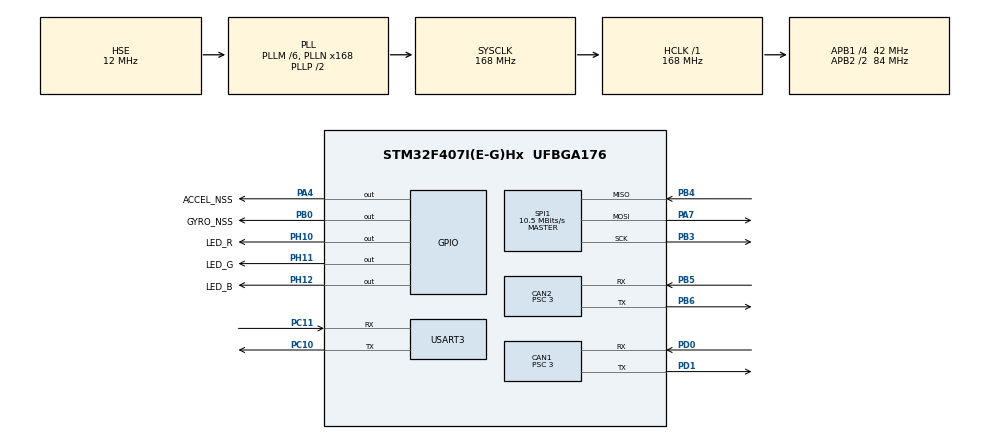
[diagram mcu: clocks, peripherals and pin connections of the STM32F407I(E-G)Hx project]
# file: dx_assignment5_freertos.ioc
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CAN1.ABOM=ENABLE
CAN1.AWUM=ENABLE
CAN1.BS1=CAN_BS1_7TQ
CAN1.BS2=CAN_BS2_6TQ
CAN1.CalculateBaudRate=1000000
CAN1.CalculateTimeBit=1000
CAN1.CalculateTimeQuantum=71.42857142857143
CAN1.Mode=CAN_MODE_NORMAL
CAN1.NART=ENABLE
CAN1.Prescaler=3
CAN1.TXFP=ENABLE
CAN2.BS1=CAN_BS1_7TQ
CAN2.BS2=CAN_BS2_6TQ
CAN2.CalculateBaudRate=1000000
CAN2.CalculateTimeBit=1000
CAN2.CalculateTimeQuantum=71.42857142857143
CAN2.Prescaler=3
Dma.Request0=USART3_RX
Dma.USART3_RX.0.Direction=DMA_PERIPH_TO_MEMORY
Dma.USART3_RX.0.FIFOMode=DMA_FIFOMODE_DISABLE
Dma.USART3_RX.0.Instance=DMA1_Stream1
Dma.USART3_RX.0.MemDataAlignment=DMA_MDATAALIGN_BYTE
Dma.USART3_RX.0.MemInc=DMA_MINC_ENABLE
Dma.USART3_RX.0.Mode=DMA_NORMAL
Dma.USART3_RX.0.PeriphDataAlignment=DMA_PDATAALIGN_BYTE
Dma.USART3_RX.0.PeriphInc=DMA_PINC_DISABLE
Dma.USART3_RX.0.Priority=DMA_PRIORITY_LOW
FREERTOS.CountingSemaphores01=CAN1CountingSem,3,Dynamic,NULL;CAN2CountingSem,3,Dynamic,NULL
FREERTOS.Queues01=can1_send_fifo,16,can_device_transmit_member,0,Dynamic,NULL,NULL;can2_send_fifo,16,can_device_transmit_member,0,Dynamic,NULL,NULL
FREERTOS.Tasks01=CAN1_Sending_Service,40,256,can1_sending_service,As weak,NULL,Dynamic,NULL,NULL;CAN2_Sending_Service,40,256,can2_sending_service,As weak,NULL,Dynamic,NULL,NULL;DJI_Motor_Service,40,256,DJI_motor_service,As weak,NULL,Dynamic,NULL,NULL
FREERTOS.configMAX_TASK_NAME_LEN=32
FREERTOS.configMINIMAL_STACK_SIZE=128
FREERTOS.configTOTAL_HEAP_SIZE=50000
FREERTOS.configUSE_NEWLIB_REENTRANT=1
Mcu.Family=STM32F4
Mcu.Name=STM32F407I(E-G)Hx
Mcu.Package=UFBGA176
NVIC.CAN1_RX0_IRQn=true\:5\:0\:false\:false\:true\:true\:true\:true\:true
NVIC.CAN1_TX_IRQn=true\:5\:0\:false\:false\:true\:true\:true\:true\:true
NVIC.CAN2_RX1_IRQn=true\:5\:0\:false\:false\:true\:true\:true\:true\:true
NVIC.CAN2_TX_IRQn=true\:5\:0\:false\:false\:true\:true\:true\:true\:true
NVIC.DMA1_Stream1_IRQn=true\:5\:0\:false\:false\:true\:true\:false\:true\:true
NVIC.PriorityGroup=NVIC_PRIORITYGROUP_4
NVIC.TIM7_IRQn=true\:15\:0\:false\:false\:true\:false\:false\:true\:true
NVIC.TimeBase=TIM7_IRQn
NVIC.TimeBaseIP=TIM7
NVIC.USART3_IRQn=true\:5\:0\:false\:false\:true\:true\:true\:true\:true
PA13.Mode=Serial_Wire
PA13.Signal=SYS_JTMS-SWDIO
PA14.Mode=Serial_Wire
PA14.Signal=SYS_JTCK-SWCLK
PA4.GPIO_Label=ACCEL_NSS
PA4.PinState=GPIO_PIN_SET
PA4.Signal=GPIO_Output
PA7.Mode=Full_Duplex_Master
PA7.Signal=SPI1_MOSI
PB0.GPIO_Label=GYRO_NSS
PB0.PinState=GPIO_PIN_SET
PB0.Signal=GPIO_Output
PB3.Mode=Full_Duplex_Master
PB3.Signal=SPI1_SCK
PB4.Mode=Full_Duplex_Master
PB4.Signal=SPI1_MISO
PB5.Mode=CAN_Activate
PB5.Signal=CAN2_RX
PB6.Mode=CAN_Activate
PB6.Signal=CAN2_TX
PC10.Mode=Asynchronous
PC10.Signal=USART3_TX
PC11.Mode=Asynchronous
PC11.Signal=USART3_RX
PD0.Mode=CAN_Activate
PD0.Signal=CAN1_RX
PD1.Mode=CAN_Activate
PD1.Signal=CAN1_TX
PH0-OSC_IN.Mode=HSE-External-Oscillator
PH0-OSC_IN.Signal=RCC_OSC_IN
PH1-OSC_OUT.Mode=HSE-External-Oscillator
PH1-OSC_OUT.Signal=RCC_OSC_OUT
PH10.GPIO_Label=LED_R
PH10.PinState=GPIO_PIN_SET
PH10.Signal=GPIO_Output
PH11.GPIO_Label=LED_G
PH11.PinState=GPIO_PIN_SET
PH11.Signal=GPIO_Output
PH12.GPIO_Label=LED_B
PH12.PinState=GPIO_PIN_SET
PH12.Signal=GPIO_Output
ProjectManager.HeapSize=0x200
ProjectManager.StackSize=0x400
ProjectManager.TargetToolchain=CMake
RCC.48MHZClocksFreq_Value=84000000
RCC.AHBFreq_Value=168000000
RCC.APB1CLKDivider=RCC_HCLK_DIV4
RCC.APB1Freq_Value=42000000
RCC.APB1TimFreq_Value=84000000
RCC.APB2CLKDivider=RCC_HCLK_DIV2
RCC.APB2Freq_Value=84000000
RCC.APB2TimFreq_Value=168000000
RCC.CortexFreq_Value=168000000
RCC.HCLKFreq_Value=168000000
RCC.HSE_VALUE=12000000
RCC.HSI_VALUE=16000000
RCC.LSE_VALUE=32768
RCC.PLLM=6
RCC.PLLN=168
RCC.PLLSourceVirtual=RCC_PLLSOURCE_HSE
RCC.SYSCLKFreq_VALUE=168000000
RCC.SYSCLKSource=RCC_SYSCLKSOURCE_PLLCLK
RCC.VCOOutputFreq_Value=336000000
SPI1.BaudRatePrescaler=SPI_BAUDRATEPRESCALER_8
SPI1.CLKPhase=SPI_PHASE_2EDGE
SPI1.CLKPolarity=SPI_POLARITY_HIGH
SPI1.CalculateBaudRate=10.5 MBits/s
SPI1.Direction=SPI_DIRECTION_2LINES
SPI1.Mode=SPI_MODE_MASTER
SPI1.VirtualType=VM_MASTER
USART3.Parity=PARITY_EVEN
USART3.VirtualMode=VM_ASYNC
USART3.WordLength=WORDLENGTH_9B
VP_FREERTOS_VS_CMSIS_V2.Mode=CMSIS_V2
VP_SYS_VS_tim7.Mode=TIM7
board=custom

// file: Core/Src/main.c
/* USER CODE BEGIN Header */
/**
  ******************************************************************************
  * @file           : main.c
  * @brief          : Main program body
  ******************************************************************************
  * @attention
  *
  * Copyright (c) 2026 STMicroelectronics.
  * All rights reserved.
  *
  * This software is licensed under terms that can be found in the LICENSE file
  * in the root directory of this software component.
  * If no LICENSE file comes with this software, it is provided AS-IS.
  *
  ******************************************************************************
  */
/* USER CODE END Header */
#include "main.h"
#include "cmsis_os.h"
#include "can.h"
#include "dma.h"
#include "spi.h"
#include "usart.h"
#include "gpio.h"

void SystemClock_Config(void);
void MX_FREERTOS_Init(void);

/* USER CODE BEGIN 0 */
void bsp_can_init() {
    HAL_CAN_Start(&hcan1);
    HAL_CAN_ActivateNotification(&hcan1,  CAN_IT_RX_FIFO0_MSG_PENDING | CAN_IT_TX_MAILBOX_EMPTY);
    HAL_CAN_Start(&hcan2);
    HAL_CAN_ActivateNotification(&hcan2,  CAN_IT_RX_FIFO1_MSG_PENDING | CAN_IT_TX_MAILBOX_EMPTY);
}
/* USER CODE END 0 */

int main(void)
{

  /* USER CODE BEGIN 1 */
  __HAL_RCC_SYSCLK_CONFIG(RCC_SYSCLKSOURCE_HSI);
  /* USER CODE END 1 */

  /* MCU Configuration--------------------------------------------------------*/

  /* Reset of all peripherals, Initializes the Flash interface and the Systick. */
  HAL_Init();

  /* Configure the system clock */
  SystemClock_Config();

  /* Initialize all configured peripherals */
  MX_GPIO_Init();
  MX_DMA_Init();
  MX_CAN1_Init();
  MX_CAN2_Init();
  MX_USART3_UART_Init();
  MX_SPI1_Init();
  /* USER CODE BEGIN 2 */
    bsp_can_init();

  /* USER CODE END 2 */

  /* Init scheduler */
  osKernelInitialize();  /* Call init function for freertos objects (in cmsis_os2.c) */
  MX_FREERTOS_Init();

  /* Start scheduler */
  osKernelStart();

  /* We should never get here as control is now taken by the scheduler */

  /* Infinite loop */
  while (1)
  {

  }
}

void SystemClock_Config(void)
{
  RCC_OscInitTypeDef RCC_OscInitStruct = {0};
  RCC_ClkInitTypeDef RCC_ClkInitStruct = {0};

  /** Configure the main internal regulator output voltage
  */
  __HAL_RCC_PWR_CLK_ENABLE();
  __HAL_PWR_VOLTAGESCALING_CONFIG(PWR_REGULATOR_VOLTAGE_SCALE1);

  /** Initializes the RCC Oscillators according to the specified parameters
  * in the RCC_OscInitTypeDef structure.
  */
  RCC_OscInitStruct.OscillatorType = RCC_OSCILLATORTYPE_HSE;
  RCC_OscInitStruct.HSEState = RCC_HSE_ON;
  RCC_OscInitStruct.PLL.PLLState = RCC_PLL_ON;
  RCC_OscInitStruct.PLL.PLLSource = RCC_PLLSOURCE_HSE;
  RCC_OscInitStruct.PLL.PLLM = 6;
  RCC_OscInitStruct.PLL.PLLN = 168;
  RCC_OscInitStruct.PLL.PLLP = RCC_PLLP_DIV2;
  RCC_OscInitStruct.PLL.PLLQ = 4;
  if (HAL_RCC_OscConfig(&RCC_OscInitStruct) != HAL_OK)
  {
    Error_Handler();
  }

  /** Initializes the CPU, AHB and APB buses clocks
  */
  RCC_ClkInitStruct.ClockType = RCC_CLOCKTYPE_HCLK|RCC_CLOCKTYPE_SYSCLK
                              |RCC_CLOCKTYPE_PCLK1|RCC_CLOCKTYPE_PCLK2;
  RCC_ClkInitStruct.SYSCLKSource = RCC_SYSCLKSOURCE_PLLCLK;
  RCC_ClkInitStruct.AHBCLKDivider = RCC_SYSCLK_DIV1;
  RCC_ClkInitStruct.APB1CLKDivider = RCC_HCLK_DIV4;
  RCC_ClkInitStruct.APB2CLKDivider = RCC_HCLK_DIV2;

  if (HAL_RCC_ClockConfig(&RCC_ClkInitStruct, FLASH_LATENCY_5) != HAL_OK)
  {
    Error_Handler();
  }
}

void HAL_TIM_PeriodElapsedCallback(TIM_HandleTypeDef *htim)
{
  if (htim->Instance == TIM7)
  {
    HAL_IncTick();
  }
}

void Error_Handler(void)
{
  __disable_irq();
  while (1)
  {
  }
}

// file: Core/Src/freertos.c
/* USER CODE BEGIN Header */
/**
  ******************************************************************************
  * File Name          : freertos.c
  * Description        : Code for freertos applications
  ******************************************************************************
  * @attention
  *
  * Copyright (c) 2026 STMicroelectronics.
  * All rights reserved.
  *
  * This software is licensed under terms that can be found in the LICENSE file
  * in the root directory of this software component.
  * If no LICENSE file comes with this software, it is provided AS-IS.
  *
  ******************************************************************************
  */
/* USER CODE END Header */

#include "FreeRTOS.h"
#include "task.h"
#include "main.h"
#include "cmsis_os.h"

/* USER CODE BEGIN Includes */
#include "app_task.h"
/* USER CODE END Includes */

/* USER CODE BEGIN PTD */
typedef struct {
    CAN_HandleTypeDef *hcan;
    uint32_t id;
    uint8_t len;
    uint8_t *buf_data;
}can_device_transmit_member;
/* USER CODE END PTD */

/* Definitions for CAN1_Sending_Service */
osThreadId_t CAN1_Sending_ServiceHandle;
const osThreadAttr_t CAN1_Sending_Service_attributes = {
  .name = "CAN1_Sending_Service",
  .stack_size = 256 * 4,
  .priority = (osPriority_t) osPriorityHigh,
};
/* Definitions for CAN2_Sending_Service */
osThreadId_t CAN2_Sending_ServiceHandle;
const osThreadAttr_t CAN2_Sending_Service_attributes = {
  .name = "CAN2_Sending_Service",
  .stack_size = 256 * 4,
  .priority = (osPriority_t) osPriorityHigh,
};
/* Definitions for DJI_Motor_Service */
osThreadId_t DJI_Motor_ServiceHandle;
const osThreadAttr_t DJI_Motor_Service_attributes = {
  .name = "DJI_Motor_Service",
  .stack_size = 256 * 4,
  .priority = (osPriority_t) osPriorityHigh,
};
/* Definitions for can1_send_fifo */
osMessageQueueId_t can1_send_fifoHandle;
const osMessageQueueAttr_t can1_send_fifo_attributes = {
  .name = "can1_send_fifo"
};
/* Definitions for can2_send_fifo */
osMessageQueueId_t can2_send_fifoHandle;
const osMessageQueueAttr_t can2_send_fifo_attributes = {
  .name = "can2_send_fifo"
};
/* Definitions for CAN1CountingSem */
osSemaphoreId_t CAN1CountingSemHandle;
const osSemaphoreAttr_t CAN1CountingSem_attributes = {
  .name = "CAN1CountingSem"
};
/* Definitions for CAN2CountingSem */
osSemaphoreId_t CAN2CountingSemHandle;
const osSemaphoreAttr_t CAN2CountingSem_attributes = {
  .name = "CAN2CountingSem"
};

void can1_sending_service(void *argument);
void can2_sending_service(void *argument);
void DJI_motor_service(void *argument);

void MX_FREERTOS_Init(void); /* (MISRA C 2004 rule 8.1) */

void MX_FREERTOS_Init(void) {

  /* Create the semaphores(s) */
  /* creation of CAN1CountingSem */
  CAN1CountingSemHandle = osSemaphoreNew(3, 3, &CAN1CountingSem_attributes);

  /* creation of CAN2CountingSem */
  CAN2CountingSemHandle = osSemaphoreNew(3, 3, &CAN2CountingSem_attributes);

  /* Create the queue(s) */
  /* creation of can1_send_fifo */
  can1_send_fifoHandle = osMessageQueueNew (16, sizeof(can_device_transmit_member), &can1_send_fifo_attributes);

  /* creation of can2_send_fifo */
  can2_send_fifoHandle = osMessageQueueNew (16, sizeof(can_device_transmit_member), &can2_send_fifo_attributes);

  /* Create the thread(s) */
  /* creation of CAN1_Sending_Service */
  CAN1_Sending_ServiceHandle = osThreadNew(can1_sending_service, NULL, &CAN1_Sending_Service_attributes);

  /* creation of CAN2_Sending_Service */
  CAN2_Sending_ServiceHandle = osThreadNew(can2_sending_service, NULL, &CAN2_Sending_Service_attributes);

  /* creation of DJI_Motor_Service */
  DJI_Motor_ServiceHandle = osThreadNew(DJI_motor_service, NULL, &DJI_Motor_Service_attributes);

  /* USER CODE BEGIN RTOS_THREADS */
  /* add threads, ... */
  RC_Init();
  led_task_init();
  ins_task_init();
  motor_task_init();
  power_task_init();

  /* USER CODE END RTOS_THREADS */

}

__weak void can1_sending_service(void *argument)
{
  for(;;)
  {
    osDelay(1);
  }
}

__weak void can2_sending_service(void *argument)
{
  for(;;)
  {
    osDelay(1);
  }
}

__weak void DJI_motor_service(void *argument)
{
  for(;;)
  {
    osDelay(1);
  }
}
